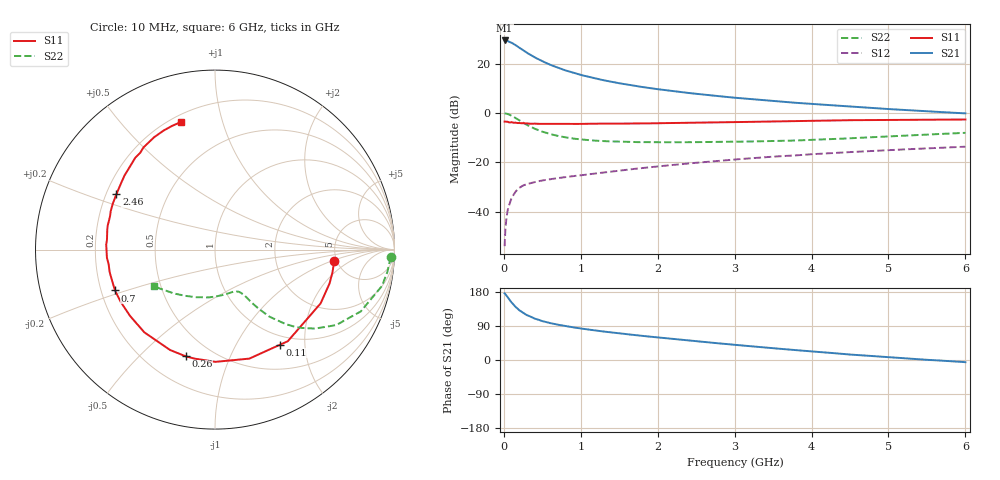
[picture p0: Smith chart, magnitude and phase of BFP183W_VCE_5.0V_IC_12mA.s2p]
! Infineon Technologies  Discrete & RF Semiconductors
! BFP183W
! VCE = 5.0 V,  IC =  12 mA
! Common Emitter S-Parameters:  Jan 2016
# GHz  S  MA  R  50
!  f  S11  S21  S12  S22
! GHz  MAG  ANG  MAG  ANG  MAG  ANG  MAG  ANG
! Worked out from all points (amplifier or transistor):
!   210 points, 10 MHz to 6 GHz, reference 50 ohm
!   highest |S21| = 29.3 dB at 10 MHz (marker M1)
!   |S21| within 3 dB of that: start of sweep to 204.2 MHz
!   unconditionally stable (mu >= 1): 1.269 GHz to 5.36 GHz
!   at 185 MHz: K = 0.24, MSG = 28.8 dB, |S12| = -30.8 dB
!   at 1.52 GHz: K = 1.07, MAG = 16.0 dB, |S12| = -23.3 dB
!   at 6 GHz: K = 0.97, MSG = 6.7 dB, |S12| = -13.7 dB
!   S11 on the Smith chart (normalised r, x): 10 MHz: 4.75, -1.08; 110 MHz: 0.86, -1.54; 260 MHz: 0.36, -0.70; 700 MHz: 0.26, -0.18; 2.46 GHz: 0.24, +0.25; 6 GHz: 0.24, +0.74
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0.01  0.6671 -5.4  29.33 175.9  0.002 90.2  0.9793 -2.4
0.02  0.6667 -10.9  29.26 173.9  0.0043 83.4  0.9736 -5.0
0.03  0.6656 -16.4  29.2 171.1  0.0065 83.6  0.9683 -7.4
0.05  0.6604 -27.0  28.59 165.1  0.0107 78.4  0.952 -12.3
0.1  0.6519 -51.5  26.43 151.9  0.0187 67.3  0.8821 -23.0
0.11  0.642 -55.6  25.82 149.8  0.02 65.2  0.8632 -24.6
0.15  0.6368 -72.5  23.77 140.4  0.0252 59.0  0.7956 -31.9
0.2  0.6254 -89.7  20.97 131.4  0.0303 53.4  0.7101 -38.3
0.26  0.6165 -105.4  18.18 123.1  0.0343 48.2  0.6236 -43.8
0.3  0.6128 -114.1  16.47 118.3  0.0361 45.8  0.5722 -46.5
0.4  0.6062 -130.5  13.34 109.3  0.0399 42.4  0.4795 -51.0
0.5  0.6005 -142.0  11.1 102.6  0.0428 40.9  0.4166 -53.3
0.6  0.6007 -150.8  9.446 97.5  0.0453 40.7  0.3728 -54.8
0.7  0.6019 -157.8  8.259 93.2  0.0478 41.1  0.3422 -55.8
1.02  0.5991 -172.8  5.777 82.7  0.0548 43.5  0.2888 -58.4
1.4  0.6044 174.8  4.265 72.7  0.0649 46.0  0.2648 -62.0
2.02  0.6197 159.4  2.996 59.1  0.0831 48.8  0.2548 -70.5
2.46  0.6302 150.6  2.474 50.3  0.0963 48.8  0.2555 -78.1
3.1  0.6547 139.0  1.972 38.4  0.117 47.5  0.262 -90.7
4.1  0.6976 123.7  1.49 21.1  0.1486 43.4  0.2881 -113.7
5.1  0.7235 112.6  1.172 6.1  0.1791 38.2  0.3399 -135.0
6  0.7355 105.1  0.978 -5.7  0.2068 33.5  0.395 -148.8
